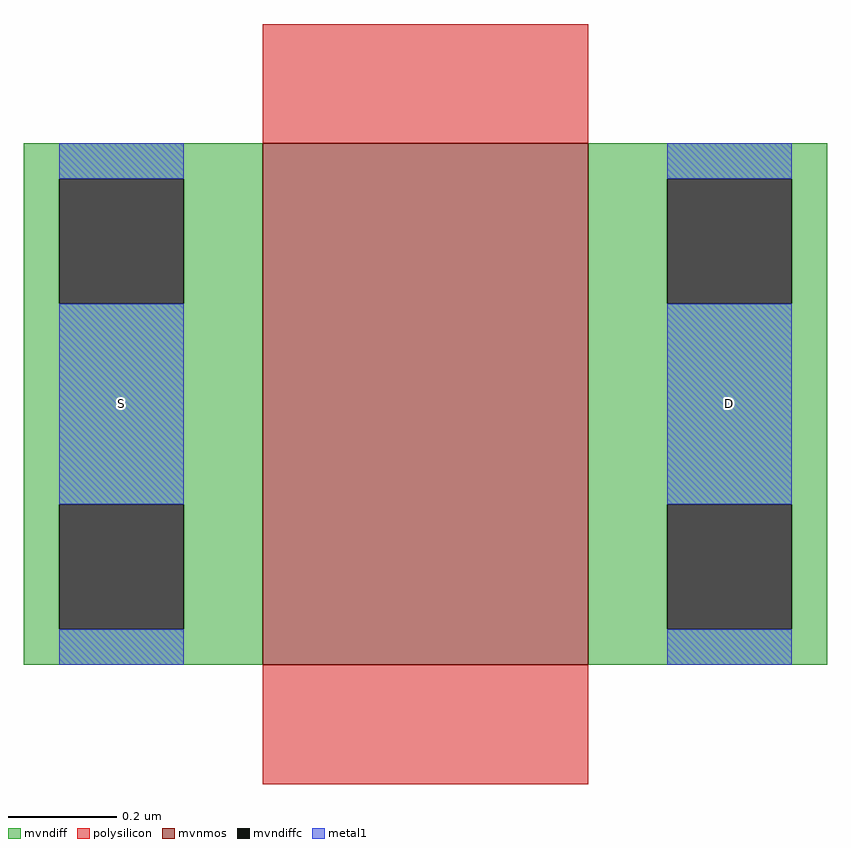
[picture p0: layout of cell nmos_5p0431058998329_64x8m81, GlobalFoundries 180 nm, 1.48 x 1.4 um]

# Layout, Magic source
magic
tech gf180mcuC
magscale 1 10
<< mvnmos >>
rect 0 0 120 192
<< mvndiff >>
rect -88 179 0 192
rect -88 133 -75 179
rect -29 133 0 179
rect -88 59 0 133
rect -88 13 -75 59
rect -29 13 0 59
rect -88 0 0 13
rect 120 179 208 192
rect 120 133 149 179
rect 195 133 208 179
rect 120 59 208 133
rect 120 13 149 59
rect 195 13 208 59
rect 120 0 208 13
<< mvndiffc >>
rect -75 133 -29 179
rect -75 13 -29 59
rect 149 133 195 179
rect 149 13 195 59
<< polysilicon >>
rect 0 192 120 236
rect 0 -44 120 0
<< metal1 >>
rect -75 179 -29 192
rect -75 59 -29 133
rect -75 0 -29 13
rect 149 179 195 192
rect 149 59 195 133
rect 149 0 195 13
<< labels >>
flabel metal1 s -52 96 -52 96 0 FreeSans 200 0 0 0 S
flabel metal1 s 172 96 172 96 0 FreeSans 200 0 0 0 D
<< properties >>
string GDS_END 42274
string GDS_FILE $PDKPATH/libs.ref/gf180mcu_fd_ip_sram/gds/gf180mcu_fd_ip_sram__sram64x8m8wm1.gds
string GDS_START 41122
<< end >>
